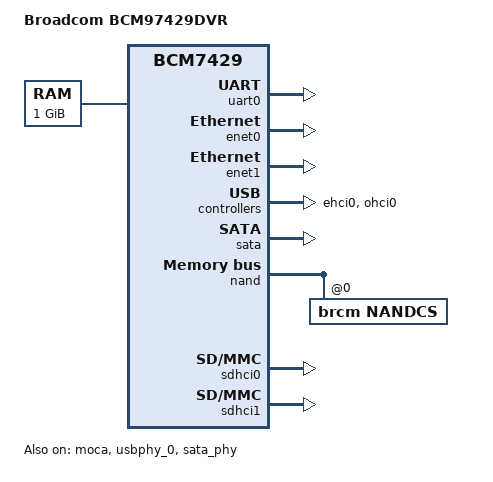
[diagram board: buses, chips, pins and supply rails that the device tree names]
/dts-v1/;

/include/ "bcm7429.dtsi"

/ {
	compatible = "brcm,bcm97429dvr", "brcm,bcm7429";
	model = "Broadcom BCM97429DVR";

	memory@0 {
		device_type = "memory";
		reg = <0x00000000 0x10000000>,
		      <0x20000000 0x30000000>;
	};

	chosen {
		bootargs = "console=ttyS0,115200 earlyprintk";
		stdout-path = &uart0;
	};

	rdb {
		sun_top_ctrl_general_no_scan0: syscon@4040a4 {
			compatible = "brcm,bcm7429-sun-top-ctrl-general-no-scan", "syscon";
			reg = <0x4040a4 0x4>;
		};
	};

	/* Save the RGMII voltage settings */
	s3 {
		syscon-refs = <&sun_top_ctrl_general_no_scan0>;
	};
};

&uart0 {
	status = "okay";
};

&enet0 {
	status = "okay";
};

&enet1 {
	status = "okay";
};

&moca {
	status = "okay";
};

&usbphy_0 {
	status = "okay";
};

&ehci0 {
	status = "okay";
};

&ohci0 {
	status = "okay";
};

/* Second USB port is not functioning */

&sata {
	status = "okay";
};

&sata_phy {
	status = "okay";
};

&nand {
	status = "okay";

	nandcs@0 {
		#size-cells = <0x2>;
		#address-cells = <0x2>;
		compatible = "brcm,nandcs";
		reg = <0>;
		nand-on-flash-bbt;

		nand-ecc-strength = <4>;
		nand-ecc-step-size = <512>;

		rootfs@0 {
			reg = <0x0 0x0 0x0 0x0>;
		};

		kernel@1 {
		        reg = <0x0 0x0 0x0 0x0>;
		};

		flash@0 {
			reg = <0x0 0x0 0x1 0x0>;
		};
	};
};

&sdhci0 {
	status = "okay";

	pinctrl-names = "default";
	pinctrl-0 = <&sdio0_core_pins>;
};

&sdhci1 {
	status = "okay";

	pinctrl-names = "default";
	pinctrl-0 = <&hif_emmc_pins>;
};

&brcm_pmx_core {
	status = "okay";
	pinctrl-names = "default";
	pinctrl-0 = <&moca_bsc_m3_pins>, <&genet_0_mii_pins>;

	sdio0_core_pins: pinmux_sdio0_pins {
		pinctrl-single,bits = <
			0x2c 0x00050000 0x000f0000 /* gpio_092 <- SDIO0_VCTL */
			0x38 0x00100000 0x00f00000 /* gpio_122 <- SDIO0_CMD */
			0x38 0x01000000 0x0f000000 /* gpio_123 <- SDIO0_WPROT */
			0x38 0x10000000 0xf0000000 /* gpio_124 <- SDIO0_PWR0 */
			0x3c 0x00000001 0x0000000f /* gpio_125 <- SDIO0_CLK */
			0x3c 0x00000010 0x000000f0 /* gpio_126 <- SDIO0_DATA0 */
			0x3c 0x00000100 0x00000f00 /* gpio_127 <- SDIO0_DATA1 */
			0x3c 0x00001000 0x0000f000 /* gpio_128 <- SDIO0_DATA2 */
			0x3c 0x00010000 0x000f0000 /* gpio_129 <- SDIO0_DATA3 */
			0x3c 0x00100000 0x00f00000 /* gpio_130 <- SDIO0_PRES */
			0x3c 0x01000000 0x0f000000 /* gpio_131 <- SDIO0_LED */

			0x6c 0x00008000 0x0000c000 /* gpio_122 <- SDIO0_CMD */
			0x6c 0x00020000 0x00030000 /* gpio_123 <- SDIO0_WPROT */
			0x6c 0x00080000 0x000c0000 /* gpio_124 <- SDIO0_PWR0 */
			0x6c 0x00200000 0x00300000 /* gpio_125 <- SDIO0_CLK */
			0x6c 0x00800000 0x00c00000 /* gpio_126 <- SDIO0_DAT0 */
			0x6c 0x02000000 0x03000000 /* gpio_127 <- SDIO0_DAT1 */
			0x6c 0x08000000 0x0c000000 /* gpio_128 <- SDIO0_DAT2 */
			0x6c 0x20000000 0x30000000 /* gpio_129 <- SDIO0_DAT3 */
			0x70 0x00000002 0x00000003 /* gpio_130 <- SDIO0_PRES */
			0x70 0x00000008 0x0000000c /* gpio_131 <- SDIO0_LED */
		>;
	};

	genet_0_mii_pins: genet_mii_pins {
		/* Intentionally do not pinmux MII_MDIO and MII_MDC such that
		 * even with this configuration selected, the internal PHY
		 * remains usable
		 */
		pinctrl-single,bits = <
			0x3c 0x10000000 0xf0000000 /* gpio_132 <- MII_RX_DV */
			0x40 0x00000001 0x0000000f /* gpio_133 <- MII_RX_ER */
			0x40 0x00000010 0x000000f0 /* gpio_134 <- MII_RX_CLK */
			0x40 0x00000100 0x00000f00 /* gpio_135 <- MII_COL */
			0x40 0x00001000 0x0000f000 /* gpio_136 <- MII_CRS */
			0x40 0x00100000 0x00f00000 /* gpio_138 <- MII_TX_CLK */
			0x40 0x01000000 0x0f000000 /* gpiO_139 <- MII_RXD_03 */
			0x40 0x10000000 0xf0000000 /* gpiO_140 <- MII_RXD_02 */
			0x44 0x00000001 0x0000000f /* gpio_141 <- MII_RXD_01 */
			0x44 0x00000010 0x000000f0 /* gpio_142 <- MII_RXD_00 */
			0x44 0x00000100 0x00000f00 /* gpio_143 <- MII_TXD_03 */
			0x44 0x00001000 0x0000f000 /* gpio_144 <- MII_TXD_02 */
			0x44 0x00010000 0x000f0000 /* gpio_145 <- MII_TXD_01 */
			0x44 0x00100000 0x00f00000 /* gpio_146 <- MII_TXD_00 */
			0x44 0x01000000 0x0f000000 /* gpio_147 <- MII_TX_EN */
			0x44 0x10000000 0xf0000000 /* gpio_148 <- MII_TX_ER */
		>;
	};

	moca_bsc_m3_pins: pinmux_moca_bsc_m3_pins {
		pinctrl-single,bits = <
			0x48 0x00000010 0x000000f0 /* sgpio_00 <- BSC_M3_SCL */
			0x48 0x00000100 0x00000f00 /* sgpio_01 <- BSC_M3_SDA */
		>;
	};
};

&brcm_pmx_hif_emmc_pinctrl {
	status = "okay";

	hif_emmc_pins: pinmux_all_pins {
		pinctrl-single,bits = <
			0x0 0x00000001 0x00000003 /* HIF_TOP_CTRL.EMMC_PIN_SEL*/
		>;
	};
};
